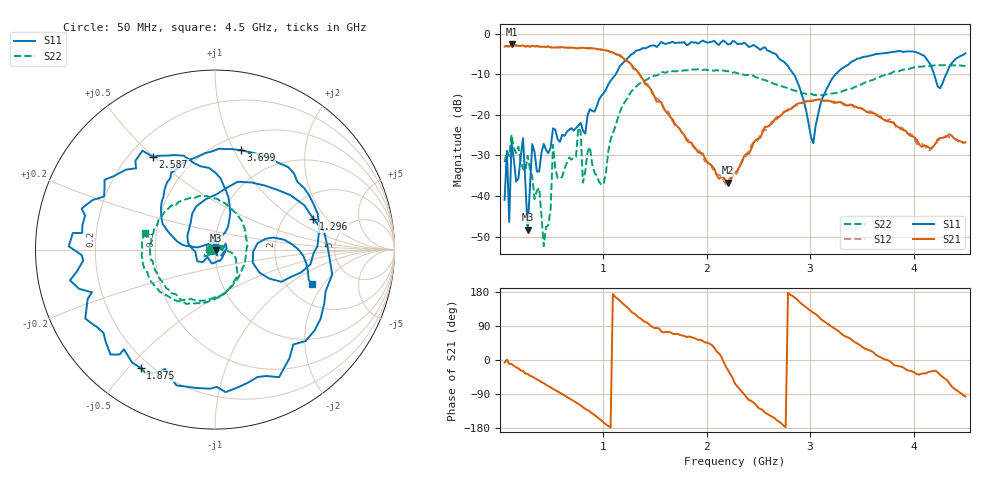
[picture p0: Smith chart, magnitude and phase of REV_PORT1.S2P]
! Network Analyzer HP8722ES.07.74: Oct 30, 2002 Serial No. US39175660
! Hewlett-Packard
! 30 May 2012  18:14:19
! Frequency  S11  S21  S12  S22
# HZ  S  DB R  50
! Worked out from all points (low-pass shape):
!   201 points, 50 MHz to 4.5 GHz, reference 50 ohm
!   highest |S21| = -2.64 dB at 116.8 MHz (marker M1); lowest = -36.7 dB at 2.208 GHz (marker M2)
!   |S21| within 3 dB of the highest: start of sweep to 1.179 GHz
!   lowest |S11| = -48.3 dB at 272.5 MHz (marker M3), VSWR 1.01, Z = 50.4 - j0.152 ohm
!   |S11| at or under -10 dB: start of sweep to 1.123 GHz; 2.841 GHz to 3.247 GHz (406.5 MHz wide, 13.4 % of centre); 4.197 GHz to 4.314 GHz (116.6 MHz wide, 2.74 % of centre)
!   |S22| runs from -52.4 to -7.7 dB; largest |S21 - S12| = 0.026
!   S11 on the Smith chart (normalised r, x): 50 MHz: 0.99, +0.01; 1.296 GHz: 2.88, +1.46; 1.875 GHz: 0.16, -0.54; 2.587 GHz: 0.30, +0.50; 3.699 GHz: 0.65, +1.06; 4.5 GHz: 2.70, -1.55
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5e7  -40.95 142.5  -3.14 -6.8  -3.11 -6.4  -31.67 -178.4
7.225e7  -28.96 -67.3  -2.98 1.0  -3.17 -0.6  -28.89 -142.8
9.45e7  -46.41 -119.3  -3.15 -10.5  -3.18 -11.1  -30.14 -174.6
1.1675e8  -26.90 100.8  -2.64 -10.2  -2.91 -11.1  -24.88 119.1
1.6125e8  -36.44 -95.1  -2.83 -19.1  -2.97 -20.4  -29.43 -141.8
2.28e8  -25.77 83.2  -2.89 -28.9  -3.03 -30.2  -33.26 132.8
2.725e8  -48.33 -23.1  -3.00 -36.5  -3.03 -36.9  -30.11 -163.6
3.17e8  -27.21 68.2  -2.95 -43.6  -3.09 -44.0  -35.15 124.5
4.2825e8  -27.17 27.1  -3.19 -61.0  -3.29 -61.7  -52.38 163.0
5.1725e8  -23.33 29.4  -3.41 -76.2  -3.31 -76.4  -27.41 17.0
7.62e8  -22.65 -93.0  -3.59 -115.8  -3.57 -115.7  -23.17 -148.0
8.065e8  -23.89 -121.8  -3.46 -124.6  -3.53 -124.8  -36.72 -116.3
1.296e9  -4.82 17.2  -8.47 123.1  -8.71 123.9  -13.71 -59.0
1.54075e9  -2.69 -55.5  -16.70 83.5  -16.25 81.5  -9.99 -118.9
1.8745e9  -2.17 -122.2  -27.68 58.5  -28.01 58.3  -8.83 -174.8
2.20825e9  -2.65 -175.2  -36.69 -27.2  -36.44 -22.9  -9.22 135.2
2.275e9  -1.96 173.4  -34.25 -62.5  -34.98 -62.6  -9.52 127.4
2.5865e9  -4.13 123.8  -22.95 -142.0  -23.56 -143.3  -11.67 76.6
3.0315e9  -27.04 131.9  -16.52 124.8  -16.45 124.3  -15.05 2.3
3.699e9  -4.84 75.5  -20.95 4.0  -20.74 4.8  -10.39 -101.3
3.76575e9  -4.64 64.0  -21.66 -2.6  -21.06 -2.7  -9.90 -110.5
4.5e9  -4.83 -19.7  -26.77 -96.2  -26.87 -95.7  -7.98 166.5
